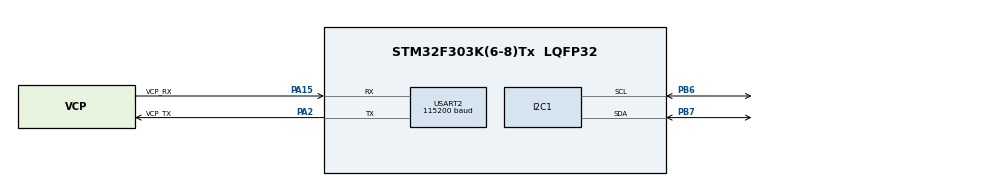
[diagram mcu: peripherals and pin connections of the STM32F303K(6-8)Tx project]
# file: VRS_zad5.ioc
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I2C1.Timing=0x00201D2B
Mcu.Family=STM32F3
Mcu.Name=STM32F303K(6-8)Tx
Mcu.Package=LQFP32
NVIC.I2C1_EV_IRQn=true\:0\:0\:false\:false\:true\:true\:true\:true
NVIC.PriorityGroup=NVIC_PRIORITYGROUP_4
PA13.GPIO_Label=SWDIO
PA13.Mode=Serial_Wire
PA13.Signal=SYS_JTMS-SWDIO
PA14.GPIO_Label=SWCLK
PA14.Mode=Serial_Wire
PA14.Signal=SYS_JTCK-SWCLK
PA15.GPIO_Label=VCP_RX
PA15.Mode=Asynchronous
PA15.Signal=USART2_RX
PA2.GPIO_Label=VCP_TX
PA2.Mode=Asynchronous
PA2.Signal=USART2_TX
PB6.Mode=I2C
PB6.Signal=I2C1_SCL
PB7.Mode=I2C
PB7.Signal=I2C1_SDA
PF0\ /\ OSC_IN.GPIO_Label=MCO
PF0\ /\ OSC_IN.Mode=HSE-External-Clock-Source
PF0\ /\ OSC_IN.Signal=RCC_OSC_IN
ProjectManager.HeapSize=0x200
ProjectManager.StackSize=0x400
ProjectManager.TargetToolchain=STM32CubeIDE
RCC.AHBFreq_Value=8000000
RCC.APB1Freq_Value=8000000
RCC.APB2Freq_Value=8000000
RCC.CortexFreq_Value=8000000
RCC.HSE_VALUE=8000000
RCC.HSI_VALUE=8000000
RCC.SYSCLKFreq_VALUE=8000000
USART2.BaudRate=115200
USART2.VirtualMode-Asynchronous=VM_ASYNC
board=NUCLEO-F303K8

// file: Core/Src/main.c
/* USER CODE BEGIN Header */
/**
  ******************************************************************************
  * @file           : main.c
  * @brief          : Main program body
  ******************************************************************************
  * @attention
  *
  * Copyright (c) 2026 STMicroelectronics.
  * All rights reserved.
  *
  * This software is licensed under terms that can be found in the LICENSE file
  * in the root directory of this software component.
  * If no LICENSE file comes with this software, it is provided AS-IS.
  *
  ******************************************************************************
  */
/* USER CODE END Header */
#include "main.h"
#include "i2c.h"
#include "usart.h"
#include "gpio.h"
/* USER CODE BEGIN Includes */
#include <stdio.h>
#include "hts221.h"
#include "lps22hb.h"

/* USER CODE END Includes */

void SystemClock_Config(void);

int main(void)
{

  /* MCU Configuration--------------------------------------------------------*/

  /* Reset of all peripherals, Initializes the Flash interface and the Systick. */
  LL_APB2_GRP1_EnableClock(LL_APB2_GRP1_PERIPH_SYSCFG);
  LL_APB1_GRP1_EnableClock(LL_APB1_GRP1_PERIPH_PWR);

  /* System interrupt init*/
  NVIC_SetPriorityGrouping(NVIC_PRIORITYGROUP_4);

  /* Configure the system clock */
  SystemClock_Config();

  /* Initialize all configured peripherals */
  MX_GPIO_Init();
  MX_USART2_UART_Init();
  MX_I2C1_Init();
  /* USER CODE BEGIN 2 */
  if(hts221_init(i2c_read, i2c_write))
            USART2_SendString("HTS221 init error\r\n");

    if(lps22hb_init(i2c_read, i2c_write))
            USART2_SendString("LPS22HB init error\r\n");

    LL_mDelay(2000);
    float p0 = 0.0f;
    for(uint8_t i = 0; i < 10; i++)
    {
            p0 += lps22hb_get_pressure();
            LL_mDelay(100);
    }
    lps22hb_set_reference_pressure(p0 / 10.0f);
  /* USER CODE END 2 */

  /* Infinite loop */
  while (1)
  {

    /* USER CODE BEGIN 3 */
	  char msg[48];
	          float temperature = hts221_get_temperature();
	          float humidity = hts221_get_humidity();
	          float pressure = lps22hb_get_pressure();
	          float altitude = lps22hb_calc_altitude(pressure);

	          sprintf(msg, "%04.1f,%02.0f,%07.2f,%06.2f\r\n", temperature, humidity, pressure, altitude);
	          USART2_SendString(msg);

	          LL_mDelay(100);
	    }
  /* USER CODE END 3 */
}

void SystemClock_Config(void)
{
  LL_FLASH_SetLatency(LL_FLASH_LATENCY_0);
  while(LL_FLASH_GetLatency()!= LL_FLASH_LATENCY_0)
  {
  }
  LL_RCC_HSI_Enable();

   /* Wait till HSI is ready */
  while(LL_RCC_HSI_IsReady() != 1)
  {

  }
  LL_RCC_HSI_SetCalibTrimming(16);
  LL_RCC_SetAHBPrescaler(LL_RCC_SYSCLK_DIV_1);
  LL_RCC_SetAPB1Prescaler(LL_RCC_APB1_DIV_1);
  LL_RCC_SetAPB2Prescaler(LL_RCC_APB2_DIV_1);
  LL_RCC_SetSysClkSource(LL_RCC_SYS_CLKSOURCE_HSI);

   /* Wait till System clock is ready */
  while(LL_RCC_GetSysClkSource() != LL_RCC_SYS_CLKSOURCE_STATUS_HSI)
  {

  }
  LL_Init1msTick(8000000);
  LL_SetSystemCoreClock(8000000);
  LL_RCC_SetI2CClockSource(LL_RCC_I2C1_CLKSOURCE_HSI);
}

void Error_Handler(void)
{
  __disable_irq();
  while (1)
  {
  }
}
